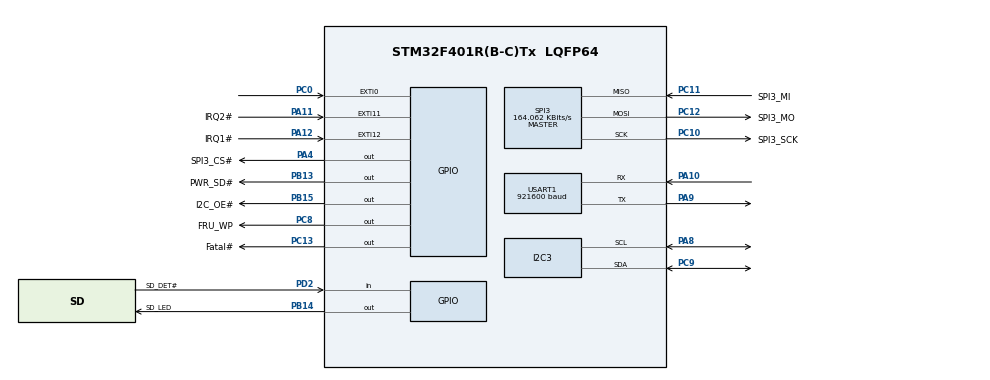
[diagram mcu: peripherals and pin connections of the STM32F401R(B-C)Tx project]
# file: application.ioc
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Mcu.Family=STM32F4
Mcu.Name=STM32F401R(B-C)Tx
Mcu.Package=LQFP64
NVIC.EXTI15_10_IRQn=true\:6\:0\:true\:false\:true\:true\:true\:true
NVIC.I2C3_ER_IRQn=true\:0\:0\:false\:false\:true\:true\:true\:true
NVIC.I2C3_EV_IRQn=true\:0\:0\:false\:false\:true\:true\:true\:true
NVIC.PriorityGroup=NVIC_PRIORITYGROUP_4
PA0-WKUP.GPIO_Label=M1_A
PA0-WKUP.GPIO_PuPd=GPIO_PULLUP
PA0-WKUP.Signal=S_TIM5_CH1
PA1.GPIO_Label=M1_B
PA1.GPIO_PuPd=GPIO_PULLUP
PA1.Signal=S_TIM5_CH2
PA10.Mode=Asynchronous
PA10.Signal=USART1_RX
PA11.GPIO_Label=IRQ2\#
PA11.GPIO_ModeDefaultEXTI=GPIO_MODE_IT_FALLING
PA11.Signal=GPXTI11
PA12.GPIO_Label=IRQ1\#
PA12.GPIO_ModeDefaultEXTI=GPIO_MODE_IT_FALLING
PA12.Signal=GPXTI12
PA13.Mode=Serial_Wire
PA13.Signal=SYS_JTMS-SWDIO
PA14.Mode=Serial_Wire
PA14.Signal=SYS_JTCK-SWCLK
PA15.GPIO_Label=M3_PWM
PA15.GPIO_PuPd=GPIO_PULLDOWN
PA15.Signal=S_TIM2_CH1_ETR
PA3.GPIO_Label=M6_PWM
PA3.GPIO_PuPd=GPIO_PULLDOWN
PA3.Signal=S_TIM2_CH4
PA4.GPIO_Label=SPI3_CS\#
PA4.PinState=GPIO_PIN_SET
PA4.Signal=GPIO_Output
PA6.Signal=ADCx_IN6
PA8.Mode=I2C
PA8.Signal=I2C3_SCL
PA9.Mode=Asynchronous
PA9.Signal=USART1_TX
PB0.Signal=ADCx_IN8
PB1.GPIO_Label=FAN_PWM
PB1.GPIO_PuPd=GPIO_PULLDOWN
PB1.Signal=TIM1_CH3N
PB10.GPIO_Label=M5_PWM
PB10.GPIO_PuPd=GPIO_PULLDOWN
PB10.Signal=S_TIM2_CH3
PB13.GPIO_Label=PWR_SD\#
PB13.GPIO_PuPd=GPIO_NOPULL
PB13.Signal=GPIO_Output
PB14.GPIO_Label=SD_LED
PB14.Signal=GPIO_Output
PB15.GPIO_Label=I2C_OE\#
PB15.Signal=GPIO_Output
PB3.GPIO_Label=M4_PWM
PB3.GPIO_PuPd=GPIO_PULLDOWN
PB3.Signal=S_TIM2_CH2
PB4.GPIO_Label=M2_A
PB4.GPIO_PuPd=GPIO_PULLUP
PB4.Signal=S_TIM3_CH1
PB5.GPIO_Label=M2_B
PB5.GPIO_PuPd=GPIO_PULLUP
PB5.Signal=S_TIM3_CH2
PB6.GPIO_Label=M1_PWM
PB6.GPIO_PuPd=GPIO_PULLDOWN
PB6.Signal=S_TIM4_CH1
PB7.GPIO_PuPd=GPIO_PULLDOWN
PB7.Signal=S_TIM4_CH2
PB8.GPIO_Label=M2_PWM
PB8.GPIO_PuPd=GPIO_PULLDOWN
PB8.Signal=S_TIM4_CH3
PC0.Signal=GPXTI0
PC10.GPIO_Label=SPI3_SCK
PC10.Mode=Full_Duplex_Master
PC10.Signal=SPI3_SCK
PC11.GPIO_Label=SPI3_MI
PC11.Mode=Full_Duplex_Master
PC11.Signal=SPI3_MISO
PC12.GPIO_Label=SPI3_MO
PC12.Mode=Full_Duplex_Master
PC12.Signal=SPI3_MOSI
PC13-ANTI_TAMP.GPIO_Label=Fatal\#
PC13-ANTI_TAMP.Signal=GPIO_Output
PC14-OSC32_IN.Mode=LSE-External-Oscillator
PC14-OSC32_IN.Signal=RCC_OSC32_IN
PC15-OSC32_OUT.Mode=LSE-External-Oscillator
PC15-OSC32_OUT.Signal=RCC_OSC32_OUT
PC3.Signal=ADCx_IN13
PC4.Signal=ADCx_IN14
PC5.Signal=ADCx_IN15
PC8.GPIO_Label=FRU_WP
PC8.Signal=GPIO_Output
PC9.Mode=I2C
PC9.Signal=I2C3_SDA
PD2.GPIO_Label=SD_DET\#
PD2.GPIO_PuPd=GPIO_PULLUP
PD2.Signal=GPIO_Input
PH0\ -\ OSC_IN.Mode=HSE-External-Clock-Source
PH0\ -\ OSC_IN.Signal=RCC_OSC_IN
PH1\ -\ OSC_OUT.Mode=HSE-External-Clock-Source
PH1\ -\ OSC_OUT.Signal=RCC_OSC_OUT
ProjectManager.HeapSize=0x400
ProjectManager.StackSize=0x800
ProjectManager.TargetToolchain=CMake
RCC.48MHZClocksFreq_Value=48000000
RCC.AHBFreq_Value=84000000
RCC.APB1CLKDivider=RCC_HCLK_DIV2
RCC.APB1Freq_Value=42000000
RCC.APB1TimFreq_Value=84000000
RCC.APB2Freq_Value=84000000
RCC.APB2TimFreq_Value=84000000
RCC.CortexFreq_Value=84000000
RCC.HCLKFreq_Value=84000000
RCC.HSE_VALUE=8000000
RCC.HSI_VALUE=16000000
RCC.PLLM=8
RCC.PLLN=336
RCC.PLLP=RCC_PLLP_DIV4
RCC.PLLQ=7
RCC.PLLSourceVirtual=RCC_PLLSOURCE_HSE
RCC.RCC_RTC_Clock_Source=RCC_RTCCLKSOURCE_LSE
RCC.RCC_RTC_Clock_SourceVirtual=RCC_RTCCLKSOURCE_LSE
RCC.SYSCLKFreq_VALUE=84000000
RCC.SYSCLKSource=RCC_SYSCLKSOURCE_PLLCLK
RCC.VCOOutputFreq_Value=336000000
SH.ADCx_IN13.0=ADC1_IN13
SH.ADCx_IN14.0=ADC1_IN14
SH.ADCx_IN15.0=ADC1_IN15
SH.ADCx_IN6.0=ADC1_IN6
SH.ADCx_IN8.0=ADC1_IN8
SH.S_TIM2_CH1_ETR.0=TIM2_CH1
SH.S_TIM2_CH2.0=TIM2_CH2
SH.S_TIM2_CH3.0=TIM2_CH3
SH.S_TIM2_CH4.0=TIM2_CH4
SH.S_TIM3_CH1.0=TIM3_CH1
SH.S_TIM3_CH2.0=TIM3_CH2
SH.S_TIM4_CH1.0=TIM4_CH1
SH.S_TIM4_CH2.0=TIM4_CH2
SH.S_TIM4_CH3.0=TIM4_CH3
SH.S_TIM5_CH1.0=TIM5_CH1
SH.S_TIM5_CH2.0=TIM5_CH2
SPI3.BaudRatePrescaler=SPI_BAUDRATEPRESCALER_256
SPI3.CLKPhase=SPI_PHASE_2EDGE
SPI3.CLKPolarity=SPI_POLARITY_HIGH
SPI3.CalculateBaudRate=164.062 KBits/s
SPI3.Direction=SPI_DIRECTION_2LINES
SPI3.Mode=SPI_MODE_MASTER
SPI3.VirtualType=VM_MASTER
USART1.BaudRate=921600
USART1.VirtualMode=VM_ASYNC
board=custom

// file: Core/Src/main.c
/* USER CODE BEGIN Header */
/**
  ******************************************************************************
  * @file           : main.c
  * @brief          : Main program body
  ******************************************************************************
  * @attention
  *
  * Copyright (c) 2025 STMicroelectronics.
  * All rights reserved.
  *
  * This software is licensed under terms that can be found in the LICENSE file
  * in the root directory of this software component.
  * If no LICENSE file comes with this software, it is provided AS-IS.
  *
  ******************************************************************************
  */
/* USER CODE END Header */
#include "main.h"
#include "i2c.h"
#include "spi.h"
#include "usart.h"
#include "gpio.h"

/* USER CODE BEGIN Includes */
#include <string.h>
#include "mbedtls/pk.h"
#include "mbedtls/ecdsa.h"
#include "mbedtls/ecp.h"
#include "mbedtls/sha256.h"
#include "mbedtls/md.h"
/* USER CODE END Includes */

void SystemClock_Config(void);

int main(void)
{

  /* MCU Configuration--------------------------------------------------------*/

  /* Reset of all peripherals, Initializes the Flash interface and the Systick. */
  HAL_Init();

  /* Configure the system clock */
  SystemClock_Config();

  /* Initialize all configured peripherals */
  MX_GPIO_Init();
  MX_I2C3_Init();
  MX_USART1_UART_Init();
  MX_SPI3_Init();
  /* USER CODE BEGIN 2 */
  printf("application %s Start, Build@%s [%s]\r\n", __func__, __DATE__, __TIME__);
  uint32_t func_addr = *((uint32_t *)0x2000F004);
  uint32_t opcode = *((uint32_t *)func_addr);

  printf("mbedtls_free() = 0x%08lX, Opcode = 0x%08lX\r\n", func_addr, opcode);
  Test_ECDSA_Verify();

  /* USER CODE END 2 */

  /* Infinite loop */
  while (1)
  {

  }
}

void SystemClock_Config(void)
{
  LL_FLASH_SetLatency(LL_FLASH_LATENCY_2);
  while(LL_FLASH_GetLatency()!= LL_FLASH_LATENCY_2)
  {
  }
  LL_PWR_SetRegulVoltageScaling(LL_PWR_REGU_VOLTAGE_SCALE2);
  LL_RCC_HSE_EnableBypass();
  LL_RCC_HSE_Enable();

   /* Wait till HSE is ready */
  while(LL_RCC_HSE_IsReady() != 1)
  {

  }
  LL_RCC_PLL_ConfigDomain_SYS(LL_RCC_PLLSOURCE_HSE, LL_RCC_PLLM_DIV_8, 336, LL_RCC_PLLP_DIV_4);
  LL_RCC_PLL_Enable();

   /* Wait till PLL is ready */
  while(LL_RCC_PLL_IsReady() != 1)
  {

  }
  while (LL_PWR_IsActiveFlag_VOS() == 0)
  {
  }
  LL_RCC_SetAHBPrescaler(LL_RCC_SYSCLK_DIV_1);
  LL_RCC_SetAPB1Prescaler(LL_RCC_APB1_DIV_2);
  LL_RCC_SetAPB2Prescaler(LL_RCC_APB2_DIV_1);
  LL_RCC_SetSysClkSource(LL_RCC_SYS_CLKSOURCE_PLL);

   /* Wait till System clock is ready */
  while(LL_RCC_GetSysClkSource() != LL_RCC_SYS_CLKSOURCE_STATUS_PLL)
  {

  }
  LL_SetSystemCoreClock(84000000);

   /* Update the time base */
  if (HAL_InitTick (TICK_INT_PRIORITY) != HAL_OK)
  {
    Error_Handler();
  }
  LL_RCC_SetTIMPrescaler(LL_RCC_TIM_PRESCALER_TWICE);
}

/* USER CODE BEGIN 4 */
// Private key
// -----BEGIN EC PRIVATE KEY-----
// MHcCAQEEIP170IwcWFyyUvvG0FqVeoU/EVcsGk6/c+vPesou5E2GoAoGCCqGSM49
// AwEHoUQDQgAElfYCLiS8pRyChZ+PS+zUtJD0qllo7d/xcYeWgYJez9z5JTsowo3C
// UDuTIwJCCRHkqtqaYKuUYCPEt6KO1YyJ+w==
// -----END EC PRIVATE KEY-----

void Test_ECDSA_Verify(void) {
  const uint8_t message[] = "Hello STM32 + mbedTLS@app!";
  const uint8_t publicKey[] ={
    "-----BEGIN PUBLIC KEY-----\r\n"
    "MFkwEwYHKoZIzj0CAQYIKoZIzj0DAQcDQgAElfYCLiS8pRyChZ+PS+zUtJD0qllo\r\n"
    "7d/xcYeWgYJez9z5JTsowo3CUDuTIwJCCRHkqtqaYKuUYCPEt6KO1YyJ+w==\r\n"
    "-----END PUBLIC KEY-----\r\n"
  };
  //ASN.1 DER format
  const uint8_t signature[] = {
    0x30, 0x44, 0x02, 0x20, 0x53, 0x35, 0x18, 0x82, 0x69, 0xc2, 0x09, 0x8e,
    0xa1, 0x3d, 0x32, 0xcf, 0x5a, 0x0d, 0xb1, 0x39, 0x1b, 0x22, 0x41, 0x6d,
    0x17, 0x9e, 0xf8, 0x27, 0xe0, 0x2e, 0x13, 0x1e, 0xe5, 0x0b, 0x1f, 0x9f,
    0x02, 0x20, 0x7e, 0x54, 0x82, 0x28, 0xb8, 0xd5, 0x24, 0x12, 0x29, 0x87,
    0xa7, 0x0b, 0x0b, 0xa0, 0x90, 0x0a, 0x59, 0x34, 0xc4, 0x4e, 0x05, 0x92,
    0x65, 0xe4, 0xac, 0xcd, 0x95, 0x3b, 0x50, 0x2f, 0xe1, 0x00
  };
  const uint8_t signature_rs[64] = {
    // r (32 bytes)
    0x53, 0x35, 0x18, 0x82, 0x69, 0xC2, 0x09, 0x8E, 0xA1, 0x3D, 0x32, 0xCF, 0x5A, 0x0D, 0xB1, 0x39,
    0x1B, 0x22, 0x41, 0x6D, 0x17, 0x9E, 0xF8, 0x27, 0xE0, 0x2E, 0x13, 0x1E, 0xE5, 0x0B, 0x1F, 0x9F,
    // s (32 bytes)
    0x7E, 0x54, 0x82, 0x28, 0xB8, 0xD5, 0x24, 0x12, 0x29, 0x87, 0xA7, 0x0B, 0x0B, 0xA0, 0x90, 0x0A,
    0x59, 0x34, 0xC4, 0x4E, 0x05, 0x92, 0x65, 0xE4, 0xAC, 0xCD, 0x95, 0x3B, 0x50, 0x2F, 0xE1, 0x00
  };

  int ret;
  uint8_t hash[32];
  mbedtls_pk_context ctx;

  // Initialize the public key context
  mbedtls_pk_init(&ctx);
  ret = mbedtls_pk_parse_public_key(&ctx, publicKey, sizeof(publicKey));
  if (ret != 0) {
    printf("Failed to parse public key! mbedtls error: -0x%04X\r\n", -ret);
    return;
  }

  // Calculate hash of the message
  const mbedtls_md_info_t *md_info;

  md_info = mbedtls_md_info_from_string("SHA256");

  mbedtls_md(md_info, message, strlen((const char*)message), hash);
  // mbedtls_sha256(message, strlen((const char*)message), hash, 0);
  printf("Hash = ");
  for (int i = 0; i < 32; i++) printf("%02X", hash[i]);
  printf("\r\n");

  // Verify signature
  ret = mbedtls_pk_verify(
    &ctx,
    MBEDTLS_MD_SHA256,
    hash, sizeof(hash),
    signature, sizeof(signature));
  if (ret == 0) {
    printf("ECDSA signature is VALID!\r\n");
  } else {
    printf("ECDSA signature is INVALID! mbedtls error: -0x%04X\r\n", -ret);
  }
  mbedtls_ecdsa_context ecdsa;

  mbedtls_ecdsa_init(&ecdsa);
  mbedtls_ecdsa_from_keypair(&ecdsa, ctx.pk_ctx);
  mbedtls_mpi r, s;
  mbedtls_mpi_init(&r);
  mbedtls_mpi_init(&s);

  mbedtls_mpi_read_binary(&r, signature_rs, 32);
  mbedtls_mpi_read_binary(&s, signature_rs + 32, 32);
  ret = mbedtls_ecdsa_verify(&ecdsa.grp, hash, sizeof(hash), &ecdsa.Q, &r, &s);
  if (ret == 0) {
    printf("ECDSA signature (RS) is VALID!\r\n");
  } else {
    printf("ECDSA signature (RS) is INVALID! -0x%04X\r\n", -ret);
  }

  mbedtls_pk_free(&ctx);
}
/* USER CODE END 4 */

void Error_Handler(void)
{
  __disable_irq();
  while (1)
  {
  }
}

#ifdef  USE_FULL_ASSERT
/**
  * @brief  Reports the name of the source file and the source line number
  *         where the assert_param error has occurred.
  * @param  file: pointer to the source file name
  * @param  line: assert_param error line source number
  * @retval None
  */
void assert_failed(uint8_t *file, uint32_t line)
{
  /* USER CODE BEGIN 6 */
  UNUSED(file);
  UNUSED(line);
  /* User can add his own implementation to report the file name and line number,
     ex: printf("Wrong parameters value: file %s on line %d\r\n", file, line) */
  /* USER CODE END 6 */
}
#endif /* USE_FULL_ASSERT */
